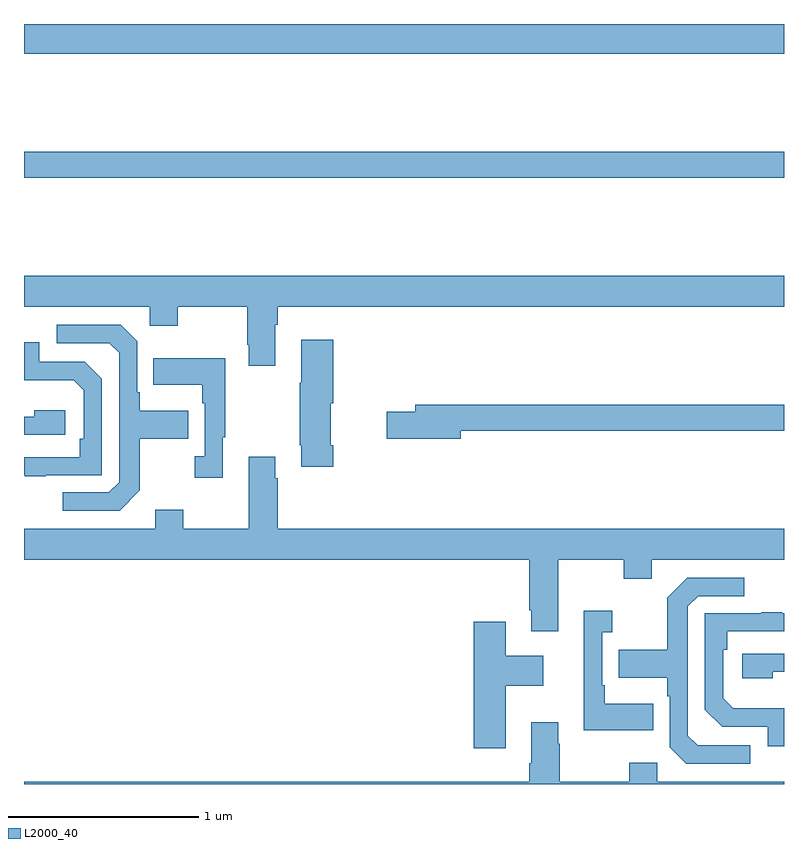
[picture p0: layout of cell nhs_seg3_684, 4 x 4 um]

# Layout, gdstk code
import gdstk
lib = gdstk.Library(unit=1e-6, precision=1e-09)
def R(c, l, rs):  # rectangles x0, y0, x1, y1
    for r in rs: c.add(gdstk.rectangle(r[:2], r[2:], *l))
def P(c, l, *ps):  # polygons
    for p in ps: c.add(gdstk.Polygon(p, *l))
L2000_40 = (2000, 40)

nhs_seg3_684 = lib.new_cell('nhs_seg3_684')
R(nhs_seg3_684, L2000_40, [(145,705.592,149,705.728), (145,706.244,149,706.4)])
P(nhs_seg3_684, L2000_40, [(146.323,704.816),(146.336,704.816),(146.336,704.912),(149,704.912),(149,705.076),(145,705.076),(145,704.912),(145.662,704.912),(145.662,704.813),(145.809,704.813),(145.809,704.912),(146.176,704.912),(146.176,704.713),(146.183,704.713),(146.183,704.601),(146.323,704.601)],
  [(145.609,703.945),(145.609,704.218),(145.865,704.218),(145.865,704.365),(145.609,704.365),(145.609,704.461),(145.596,704.461),(145.596,704.73),(145.509,704.817),(145.173,704.817),(145.173,704.721),(145.449,704.721),(145.5,704.67),(145.5,703.989),(145.446,703.935),(145.203,703.935),(145.203,703.839),(145.503,703.839)],
  [(146.627,704.182),(146.614,704.182),(146.614,704.403),(146.627,704.403),(146.627,704.737),(146.459,704.737),(146.459,704.513),(146.452,704.513),(146.452,704.182),(146.459,704.182),(146.459,704.07),(146.627,704.07)],
  [(145.115,704.025),(145.41,704.025),(145.41,704.532),(145.32,704.622),(145.08,704.622),(145.08,704.724),(145,704.724),(145,704.525),(145.261,704.525),(145.314,704.472),(145.314,704.218),(145.294,704.218),(145.294,704.121),(145,704.121),(145,704.025),(145.003,704.025),(145.003,704.02),(145.115,704.02)],
  [(146.047,704.225),(146.059,704.225),(146.059,704.641),(145.681,704.641),(145.681,704.501),(145.938,704.501),(145.938,704.405),(145.95,704.405),(145.95,704.126),(145.899,704.126),(145.899,704.013),(146.047,704.013)],
  [(147.298,704.26),(149,704.26),(149,704.396),(147.059,704.396),(147.059,704.36),(146.91,704.36),(146.91,704.218),(147.298,704.218)],
  [(145.216,704.368),(145.055,704.368),(145.055,704.334),(145,704.334),(145,704.238),(145.216,704.238)],
  [(147.811,703.58),(148.156,703.58),(148.156,703.481),(148.303,703.481),(148.303,703.58),(149,703.58),(149,703.744),(146.336,703.744),(146.336,704.009),(146.323,704.009),(146.323,704.122),(146.183,704.122),(146.183,703.744),(145.839,703.744),(145.839,703.843),(145.691,703.843),(145.691,703.744),(145,703.744),(145,703.58),(147.659,703.58),(147.659,703.315),(147.671,703.315),(147.671,703.203),(147.811,703.203)],
  [(148.822,702.603),(148.545,702.603),(148.494,702.654),(148.494,703.335),(148.548,703.389),(148.792,703.389),(148.792,703.485),(148.491,703.485),(148.386,703.379),(148.386,703.107),(148.129,703.107),(148.129,702.959),(148.386,702.959),(148.386,702.863),(148.398,702.863),(148.398,702.594),(148.485,702.507),(148.822,702.507)],
  [(148.313,702.823),(148.057,702.823),(148.057,702.919),(148.044,702.919),(148.044,703.199),(148.096,703.199),(148.096,703.312),(147.947,703.312),(147.947,702.683),(148.313,702.683)],
  [(149,702.799),(148.733,702.799),(148.68,702.852),(148.68,703.106),(148.7,703.106),(148.7,703.203),(149,703.203),(149,703.299),(148.991,703.299),(148.991,703.304),(148.879,703.304),(148.879,703.299),(148.584,703.299),(148.584,702.792),(148.674,702.702),(148.914,702.702),(148.914,702.6),(149,702.6)],
  [(147.535,702.917),(147.733,702.917),(147.733,703.075),(147.535,703.075),(147.535,703.255),(147.368,703.255),(147.368,702.588),(147.535,702.588)],
  [(148.94,702.99),(149,702.99),(149,703.086),(148.779,703.086),(148.779,702.956),(148.94,702.956)],
  [(149,702.412),(148.332,702.412),(148.332,702.511),(148.186,702.511),(148.186,702.412),(147.819,702.412),(147.819,702.611),(147.811,702.611),(147.811,702.724),(147.671,702.724),(147.671,702.508),(147.659,702.508),(147.659,702.412),(145,702.412),(145,702.4),(149,702.4)])

lib.write_gds('nhs_seg3_684.gds')
